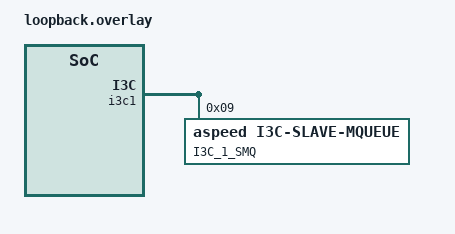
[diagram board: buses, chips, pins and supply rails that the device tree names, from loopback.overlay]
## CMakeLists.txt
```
# SPDX-License-Identifier: Apache-2.0

cmake_minimum_required(VERSION 3.13.1)

find_package(Zephyr HINTS $ENV{ZEPHYR_BASE})
project(i3c)

target_sources(app PRIVATE src/main.c)
```

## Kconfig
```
# Private config options for i3c sample app

# Copyright (c) 2021 ASPEED Technology Inc.
# SPDX-License-Identifier: Apache-2.0

mainmenu "I3C driver sample application"

config I3C_SAMPLE_IMX3102
	bool "access imx3102"
	default n
	help
	  This sample demonstrates the accesses to the slave device IMX3102.

config I3C_SAMPLE_IMX3112
	bool "access imx/iml3112"
	default n
	help
	  This sample demonstrates the accesses to the slave device IMX/IML3112.

source "Kconfig.zephyr"
```

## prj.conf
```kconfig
CONFIG_I3C=y
CONFIG_HEAP_MEM_POOL_SIZE=4096
```

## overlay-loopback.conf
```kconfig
CONFIG_I3C_SAMPLE_LOOPBACK=y
```

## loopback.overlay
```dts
&i3c1 {
	status = "okay";
	assigned-address = <0x9>;
	secondary;
	i3c1_smq:i3c-slave-mqueue@9 {
		compatible = "aspeed,i3c-slave-mqueue";
		reg = <0x9>;
		msg-size = <256>;
		num-of-msgs = <4>;
		mandatory-data-byte = <0x0>;
		label = "I3C_1_SMQ";
		status = "okay";
	};
};
```

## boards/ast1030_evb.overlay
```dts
&i3c_gr {
	status = "okay";
};

&i3c0 {
	status = "okay";
	assigned-addr = <0x8>;
};

#if 0
&i3c1 {
	status = "okay";
};

&i3c2 {
	status = "okay";
	pinctrl-0 = <&pinctrl_i3c2_default>;
};

&i3c3 {
	status = "okay";
	pinctrl-0 = <&pinctrl_i3c3_default>;
};

&i3c4 {
	status = "okay";
};
&i3c5 {
	status = "okay";
};
#endif
```

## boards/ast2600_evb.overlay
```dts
&i3c_gr {
	status = "okay";
	pull-up-resistor-ohm = <2000>, <2000>, <2000>, <2000>, <2000>, <2000>;
};

&i3c0 {
	status = "okay";
	assigned-address = <0x8>;
};

&i3c2 {
	status = "okay";
	pinctrl-0 = <&pinctrl_hvi3c2_default>;
	assigned-address = <0x8>;
};
```

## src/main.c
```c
/*
 * Copyright (c) 2021 ASPEED Technology Inc.
 *
 * SPDX-License-Identifier: Apache-2.0
 */

#include <zephyr.h>
#include <sys/printk.h>
#include <string.h>
#include <device.h>
#include <drivers/i3c/i3c.h>

/* external reference */
int i3c_slave_mqueue_read(const struct device *dev, uint8_t *dest, int budget);
int i3c_slave_mqueue_write(const struct device *dev, uint8_t *src, int size);

#ifdef CONFIG_I3C_SAMPLE_IMX3112
/*
 * IMX3112: 1-to-2 multiplexier
 *
 *                                        SPD@50  SPD@51
 * +----------------- +                   |       |
 * | SoC              |              /----+-------+---...
 * |                  |   +---------+   child bus 0, select IMX3112 local port 0
 * | I3C controller - | --| IMX3112 |
 * |                  |   +---------+   child bus 1, select IMX3112 local port 1
 * +------------------+              \----+-------+---...
 *                                        |       |
 *                                        SPD@52  SPD@53
 */
void i3c_imx3112_reg_read(struct i3c_dev_desc *imx3112, uint8_t addr, uint8_t *data, int data_size);
void i3c_imx3112_reg_write(struct i3c_dev_desc *imx3112, uint8_t addr, uint8_t *data,
			   int data_size);
void i3c_imx3112_select(struct i3c_dev_desc *imx3112, int chan);
void i3c_spd5118_reg_read(struct i3c_dev_desc *spd5118, uint8_t addr, uint8_t *data, int data_size);

static void i3c_imx3112_test(void)
{
	const struct device *master;
	struct i3c_dev_desc slave[5];
	int ret, i;
	uint8_t data[2];

	master = device_get_binding(DT_LABEL(DT_NODELABEL(i3c2)));
	__ASSERT(master, "master device not found\n");

	slave[0].info.static_addr = 0x70;
	slave[1].info.static_addr = 0x50;
	slave[2].info.static_addr = 0x51;
	slave[3].info.static_addr = 0x52;
	slave[4].info.static_addr = 0x53;

	for (i = 0; i < 5; i++) {
		slave[i].info.i2c_mode = 1;
		slave[i].info.assigned_dynamic_addr = slave[i].info.static_addr;
		ret = i3c_master_attach_device(master, &slave[i]);
		__ASSERT(!ret, "failed to attach i2c slave[%d]\n", i);
	}

	/* errata: must write 1 to MR46[0] before accessing */
	data[0] = 0x1;
	ret = i3c_i2c_write(&slave[0], 0x46, data, 1);
	__ASSERT_NO_MSG(!ret);

	ret = i3c_master_send_rstdaa(master);
	__ASSERT_NO_MSG(!ret);

	/* select child bus 0 */
	i3c_imx3112_select(&slave[0], 0);
	for (i = 0; i < 3; i++) {
		ret = i3c_i2c_read(&slave[i], 0, data, 2);
		__ASSERT_NO_MSG(!ret);
		printk("device%d ID in I2C mode %02x %02x\n", i, data[0], data[1]);
	}

	/* select child bus 1 */
	i3c_imx3112_select(&slave[0], 1);

	for (i = 3; i < 5; i++) {
		ret = i3c_i2c_read(&slave[i], 0, data, 2);
		__ASSERT_NO_MSG(!ret);
		printk("device%d ID in I2C mode %02x %02x\n", i, data[0], data[1]);
	}

	/* select child bus 0 */
	i3c_imx3112_select(&slave[0], 0);

	/* bring the bus to I3C mode */
	for (i = 0; i < 5; i++) {
		i3c_master_detach_device(master, &slave[i]);
		slave[i].info.i2c_mode = 0;
		ret = i3c_master_attach_device(master, &slave[i]);
		if (ret) {
			printk("failed to attach i3c slave[%d]\n", i);
			return;
		}
	}

	ret = i3c_master_send_sethid(master);
	__ASSERT(!ret, "SETHID failed\n");
	ret = i3c_master_send_aasa(master);
	__ASSERT(!ret, "SETAASA failed\n");

	for (i = 0; i < 3; i++) {
		i3c_spd5118_reg_read(&slave[i], 0, data, 2);
		printk("device%d ID in I3C mode %02x %02x\n", i, data[0], data[1]);
	}

	/* select child bus 1 */
	i3c_imx3112_select(&slave[0], 1);

	for (i = 3; i < 5; i++) {
		i3c_spd5118_reg_read(&slave[i], 0, data, 2);
		printk("device%d ID in I3C mode %02x %02x\n", i, data[0], data[1]);
	}
}
#endif

#ifdef CONFIG_I3C_SAMPLE_IMX3102
/*
 * IMX3102: 2-to-1 multiplexier
 *
 * +------------------   +
 * | SoC                 |
 * |                     |
 * | I3C controller #0 - | --+
 * |                     |    \                  SPD@51
 * |                     |     +---------+       |
 * |                     |     | IMX3102 | ---+--+---- i3c bus
 * |                     |     +---------+    |
 * |                     |    /               SPD@50
 * | I3C controller #1 - | --+
 * |                     |
 * +---------------------+
 */
void i3c_imx3102_reg_read(struct i3c_dev_desc *imx3102, uint8_t addr, uint8_t *data, int data_size);
void i3c_imx3102_reg_write(struct i3c_dev_desc *imx3102, uint8_t addr, uint8_t *data,
			   int data_size);
void i3c_imx3102_release_ownership(struct i3c_dev_desc *imx3102);
void i3c_imx3102_init(struct i3c_dev_desc *imx3102);
void i3c_spd5118_reg_read(struct i3c_dev_desc *spd5118, uint8_t addr, uint8_t *data, int data_size);

static void i3c_imx3102_test(void)
{
	const struct device *master[2];
	struct i3c_dev_desc slave[2][3];
	int ret, i, j;
	uint8_t data[2];

	master[0] = device_get_binding(DT_LABEL(DT_NODELABEL(i3c0)));
	__ASSERT(master[0], "master device not found\n");
	master[1] = device_get_binding(DT_LABEL(DT_NODELABEL(i3c1)));
	__ASSERT(master[1], "master device not found\n");

	/* init descriptors to the slave devices */
	for (i = 0; i < 2; i++) {
		slave[i][0].info.static_addr = 0xf;
		slave[i][1].info.static_addr = 0x50;
		slave[i][2].info.static_addr = 0x51;
		for (j = 0; j < 3; j++) {
			slave[i][j].info.i2c_mode = 1;
			slave[i][j].info.assigned_dynamic_addr = slave[i][j].info.static_addr;
			ret = i3c_master_attach_device(master[i], &slave[i][j]);
			__ASSERT(!ret, "failed to attach i2c slave%d to master%d\n", j, i);
		}
	}

	ret = i3c_master_send_rstdaa(master[0]);
	__ASSERT(!ret, "RSTDAA failed %d\n", ret);

	/* init the local port */
	i3c_imx3102_init(&slave[0][0]);

	for (j = 0; j < 3; j++) {
		ret = i3c_i2c_read(&slave[0][j], 0, data, 2);
		__ASSERT(!ret, "i2c xfer failed\n");
		printk("[I3C0][I2C mode] device%d ID %02x %02x\n", j, data[0], data[1]);
	}

	i3c_imx3102_release_ownership(&slave[0][0]);

	for (j = 0; j < 3; j++) {
		ret = i3c_i2c_read(&slave[1][j], 0, data, 2);
		__ASSERT(!ret, "i2c xfer failed\n");
		printk("[I3C1][I2C mode] device%d ID %02x %02x\n", j, data[0], data[1]);
	}

	for (i = 0; i < 2; i++) {
		for (j = 0; j < 3; j++) {
			i3c_master_detach_device(master[i], &slave[i][j]);
			slave[i][j].info.i2c_mode = 0;
			ret = i3c_master_attach_device(master[i], &slave[i][j]);
			__ASSERT(!ret, "failed to attach i3c slave%d to master%d\n", j, i);
		}
	}

	ret = i3c_master_send_sethid(master[1]);
	__ASSERT_NO_MSG(!ret);
	ret = i3c_master_send_aasa(master[1]);
	__ASSERT_NO_MSG(!ret);

	i3c_imx3102_reg_read(&slave[1][0], 0, data, 2);
	printk("[I3C1][I3C mode] device0 ID %02x %02x\n", data[0], data[1]);
	for (j = 1; j < 3; j++) {
		i3c_spd5118_reg_read(&slave[1][j], 0, data, 2);
		printk("[I3C1][I3C mode] device%d ID %02x %02x\n", j, data[0], data[1]);
	}

	i3c_imx3102_release_ownership(&slave[1][0]);

	i3c_imx3102_reg_read(&slave[0][0], 0, data, 2);
	printk("[I3C0][I3C mode] device0 ID %02x %02x\n", data[0], data[1]);
	for (j = 1; j < 3; j++) {
		i3c_spd5118_reg_read(&slave[0][j], 0, data, 2);
		printk("[I3C0][I3C mode] device%d ID %02x %02x\n", j, data[0], data[1]);
	}
}
#endif

void main(void)
{
#ifdef CONFIG_I3C_SAMPLE_IMX3102
	i3c_imx3102_test();
#endif

#ifdef CONFIG_I3C_SAMPLE_IMX3112
	i3c_imx3112_test();
#endif

	while (1) {
		k_sleep(K_MSEC(1000));
	}
}
```
